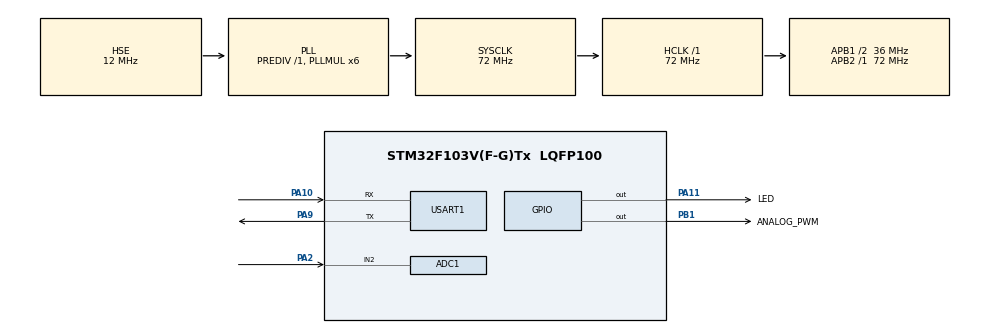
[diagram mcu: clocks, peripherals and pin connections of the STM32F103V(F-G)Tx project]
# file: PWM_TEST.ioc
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ADC1.Channel-0\#ChannelRegularConversion=ADC_CHANNEL_2
ADC1.ContinuousConvMode=ENABLE
ADC1.NbrOfConversionFlag=1
ADC1.Rank-0\#ChannelRegularConversion=1
ADC1.SamplingTime-0\#ChannelRegularConversion=ADC_SAMPLETIME_1CYCLE_5
ADC1.master=1
Mcu.Family=STM32F1
Mcu.Name=STM32F103V(F-G)Tx
Mcu.Package=LQFP100
NVIC.PriorityGroup=NVIC_PRIORITYGROUP_4
NVIC.TIM3_IRQn=true\:0\:0\:false\:false\:true\:true\:true\:true
OSC_IN.Mode=HSE-External-Oscillator
OSC_IN.Signal=RCC_OSC_IN
OSC_OUT.Mode=HSE-External-Oscillator
OSC_OUT.Signal=RCC_OSC_OUT
PA10.Mode=Asynchronous
PA10.Signal=USART1_RX
PA11.GPIO_Label=LED
PA11.Signal=GPIO_Output
PA13.Mode=Serial_Wire
PA13.Signal=SYS_JTMS-SWDIO
PA14.Mode=Serial_Wire
PA14.Signal=SYS_JTCK-SWCLK
PA2.Signal=ADCx_IN2
PA9.Mode=Asynchronous
PA9.Signal=USART1_TX
PB1.GPIO_Label=ANALOG_PWM
PB1.GPIO_Speed=GPIO_SPEED_FREQ_MEDIUM
PB1.PinState=GPIO_PIN_RESET
PB1.Signal=GPIO_Output
ProjectManager.HeapSize=0x200
ProjectManager.StackSize=0x400
ProjectManager.TargetToolchain=Makefile
RCC.ADCPresc=RCC_ADCPCLK2_DIV6
RCC.AHBFreq_Value=72000000
RCC.APB1CLKDivider=RCC_HCLK_DIV2
RCC.APB1Freq_Value=36000000
RCC.APB1TimFreq_Value=72000000
RCC.APB2Freq_Value=72000000
RCC.APB2TimFreq_Value=72000000
RCC.HCLKFreq_Value=72000000
RCC.HSE_VALUE=12000000
RCC.PLLMUL=RCC_PLL_MUL6
RCC.PLLSourceVirtual=RCC_PLLSOURCE_HSE
RCC.SYSCLKFreq_VALUE=72000000
RCC.SYSCLKSource=RCC_SYSCLKSOURCE_PLLCLK
RCC.USBFreq_Value=72000000
SH.ADCx_IN2.0=ADC1_IN2,IN2
TIM3.Period=24
TIM3.Prescaler=71
USART1.VirtualMode=VM_ASYNC
VP_TIM3_VS_ClockSourceINT.Mode=Internal
board=custom

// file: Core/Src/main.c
/* USER CODE BEGIN Header */
/**
 ******************************************************************************
 * @file           : main.c
 * @brief          : Main program body
 ******************************************************************************
 * @attention
 *
 * Copyright (c) 2024 STMicroelectronics.
 * All rights reserved.
 *
 * This software is licensed under terms that can be found in the LICENSE file
 * in the root directory of this software component.
 * If no LICENSE file comes with this software, it is provided AS-IS.
 *
 ******************************************************************************
 */
/* USER CODE END Header */
#include "main.h"
#include "adc.h"
#include "tim.h"
#include "usart.h"
#include "gpio.h"

/* USER CODE BEGIN Includes */
#include "stdint.h"
#include "stdio.h"
/* USER CODE END Includes */

/* USER CODE BEGIN PD */
// Timer Interrupt 1us/tick
// 20us
#define CYCLE_TICKS_20HZ               2000  // unit: 20us
#define ANALOG_PWM_HIGH_LEVEL_TICKS    5     // uint: 20us
#define ANALOG_PWM_GET_ADC_VALUE_TICKS 3     // uint: 20us
#define ADC_DETECT_VALUE               1024
/* USER CODE END PD */

/* USER CODE BEGIN PV */
uint16_t   adc_value  = 0;
static int tickCounts = 0;
/* USER CODE END PV */

void SystemClock_Config(void);
/* USER CODE BEGIN PFP */
void     GPIO_Default_Init(void);
void     AnalogPwm_Output(void);
uint16_t adc_read(void);
/* USER CODE END PFP */

/* USER CODE BEGIN 0 */
void HAL_TIM_PeriodElapsedCallback(TIM_HandleTypeDef *htim) {
    if (htim == (&htim3)) {
        AnalogPwm_Output();
    }
}
// void HAL_TIM_PeriodElapsedCallback(TIM_HandleTypeDef *htim) {
//     static unsigned char ledState = 0;
//     if (htim == (&htim3)) {
//         if (ledState == 0)
//             HAL_GPIO_WritePin(LED_GPIO_Port, LED_Pin, GPIO_PIN_RESET);
//         else
//             HAL_GPIO_WritePin(LED_GPIO_Port, LED_Pin, GPIO_PIN_SET);
//         ledState = !ledState;
//     }
// }
void AnalogPwm_Output(void) {
    if (tickCounts == 0) {
        // printf("Analog pwm start");
        HAL_GPIO_WritePin(ANALOG_PWM_GPIO_Port, ANALOG_PWM_Pin, GPIO_PIN_SET);
    }

    tickCounts++;
    if (tickCounts >= CYCLE_TICKS_20HZ) {
        tickCounts = 0;
        return;
    } else if ((tickCounts == ANALOG_PWM_HIGH_LEVEL_TICKS) && (tickCounts < CYCLE_TICKS_20HZ)) {
        HAL_GPIO_WritePin(ANALOG_PWM_GPIO_Port, ANALOG_PWM_Pin, GPIO_PIN_RESET);
    }

    if ((tickCounts == ANALOG_PWM_GET_ADC_VALUE_TICKS) && (adc_value < ADC_DETECT_VALUE)) {
        HAL_GPIO_TogglePin(LED_GPIO_Port, LED_Pin);
        // HAL_GPIO_WritePin(LED_GPIO_Port, LED_Pin, GPIO_PIN_SET);
    }

    // test
    // static uint8_t state = 0;
    // if (state == 0)
    //     HAL_GPIO_WritePin(ANALOG_PWM_GPIO_Port, ANALOG_PWM_Pin, GPIO_PIN_SET);
    // else
    //     HAL_GPIO_WritePin(ANALOG_PWM_GPIO_Port, ANALOG_PWM_Pin, GPIO_PIN_RESET);
    // state = !state;
}
/* USER CODE END 0 */

int main(void) {

    /* MCU Configuration--------------------------------------------------------*/

    /* Reset of all peripherals, Initializes the Flash interface and the Systick. */
    HAL_Init();

    /* Configure the system clock */
    SystemClock_Config();

    /* Initialize all configured peripherals */
    MX_GPIO_Init();
    MX_ADC1_Init();
    MX_USART1_UART_Init();
    MX_TIM3_Init();
    /* USER CODE BEGIN 2 */
    GPIO_Default_Init();
    /*使能定时器3中断*/
    HAL_TIM_Base_Start_IT(&htim3);
    /* USER CODE END 2 */

    /* Infinite loop */
    /* USER CODE BEGIN WHILE */
    while (1) {
        adc_value = adc_read();
        printf("adc_value:%d\r\n", adc_value);
        /* USER CODE END WHILE */

    }
}

void SystemClock_Config(void) {
    RCC_OscInitTypeDef       RCC_OscInitStruct = {0};
    RCC_ClkInitTypeDef       RCC_ClkInitStruct = {0};
    RCC_PeriphCLKInitTypeDef PeriphClkInit     = {0};

    /** Initializes the RCC Oscillators according to the specified parameters
     * in the RCC_OscInitTypeDef structure.
     */
    RCC_OscInitStruct.OscillatorType = RCC_OSCILLATORTYPE_HSE;
    RCC_OscInitStruct.HSEState       = RCC_HSE_ON;
    RCC_OscInitStruct.HSEPredivValue = RCC_HSE_PREDIV_DIV1;
    RCC_OscInitStruct.HSIState       = RCC_HSI_ON;
    RCC_OscInitStruct.PLL.PLLState   = RCC_PLL_ON;
    RCC_OscInitStruct.PLL.PLLSource  = RCC_PLLSOURCE_HSE;
    RCC_OscInitStruct.PLL.PLLMUL     = RCC_PLL_MUL6;
    if (HAL_RCC_OscConfig(&RCC_OscInitStruct) != HAL_OK) {
        Error_Handler();
    }

    /** Initializes the CPU, AHB and APB buses clocks
     */
    RCC_ClkInitStruct.ClockType      = RCC_CLOCKTYPE_HCLK | RCC_CLOCKTYPE_SYSCLK | RCC_CLOCKTYPE_PCLK1 | RCC_CLOCKTYPE_PCLK2;
    RCC_ClkInitStruct.SYSCLKSource   = RCC_SYSCLKSOURCE_PLLCLK;
    RCC_ClkInitStruct.AHBCLKDivider  = RCC_SYSCLK_DIV1;
    RCC_ClkInitStruct.APB1CLKDivider = RCC_HCLK_DIV2;
    RCC_ClkInitStruct.APB2CLKDivider = RCC_HCLK_DIV1;

    if (HAL_RCC_ClockConfig(&RCC_ClkInitStruct, FLASH_LATENCY_2) != HAL_OK) {
        Error_Handler();
    }
    PeriphClkInit.PeriphClockSelection = RCC_PERIPHCLK_ADC;
    PeriphClkInit.AdcClockSelection    = RCC_ADCPCLK2_DIV6;
    if (HAL_RCCEx_PeriphCLKConfig(&PeriphClkInit) != HAL_OK) {
        Error_Handler();
    }
}

/* USER CODE BEGIN 4 */
void GPIO_Default_Init(void) {
    HAL_GPIO_WritePin(ANALOG_PWM_GPIO_Port, ANALOG_PWM_Pin, GPIO_PIN_RESET);
    HAL_GPIO_WritePin(LED_GPIO_Port, LED_Pin, GPIO_PIN_RESET);
}

uint16_t adc_read(void) {
    uint16_t adc_value = 0;
    HAL_ADC_Start(&hadc1);
    if (HAL_ADC_PollForConversion(&hadc1, 1) == HAL_OK) {
        // get adc value
        adc_value = HAL_ADC_GetValue(&hadc1);
        HAL_ADC_Stop(&hadc1);
    }
    return adc_value;
}
/* USER CODE END 4 */

void Error_Handler(void) {
    __disable_irq();
    while (1) {
    }
}
